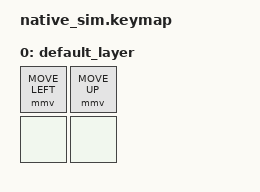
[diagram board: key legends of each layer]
#include <input/processors.dtsi>
#include <behaviors.dtsi>
#include <dt-bindings/zmk/keys.h>
#include <dt-bindings/zmk/input_mock.h>
#include <dt-bindings/zmk/pointing.h>

&mmv_input_listener {
    input-processors = <&zip_xy_swap_mapper>;
};

/ {
    keymap {
        compatible = "zmk,keymap";
        label ="Default keymap";

        default_layer {
            bindings = <
                &mmv MOVE_LEFT &mmv MOVE_UP
                &none &none
            >;
        };
    };
};


&mock_input {
    events = <
        ZMK_INPUT_MOCK_PRESS(0,0,10)
        ZMK_INPUT_MOCK_PRESS(0,1,100)
        ZMK_INPUT_MOCK_RELEASE(0,0,10)
        ZMK_INPUT_MOCK_RELEASE(0,1,10)
    >;
};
